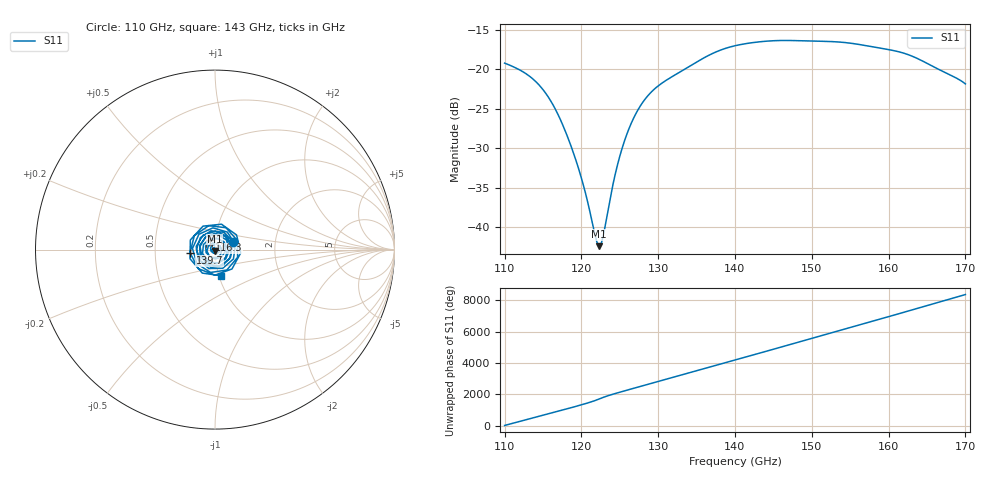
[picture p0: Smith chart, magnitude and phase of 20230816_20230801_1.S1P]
! C:\Users\Solidworker\Documents\VNA\mmiller\20230801\20230816_20230801_1.S1P
! Touchstone 1.1 file saved by VNA.EXE V1.65 (www.ke5fx.com/gpib/readme.htm)
! 8/16/2023 2:57:24 PM
!  Source: HP8510C.07.10: Mar 30  1995
!  Min freq: 1.100000E+011 Hz
!  Max freq: 1.700000E+011 Hz
!  Points: 201
!  Params: S11
# GHZ S MA R 50
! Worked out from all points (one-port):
!   201 points, 110 GHz to 170 GHz, reference 50 ohm
!   lowest |S11| = -42.4 dB at 122.3 GHz (marker M1), VSWR 1.02, Z = 50 - j0.755 ohm
!   |S11| at or under -10 dB: start of sweep to end of sweep
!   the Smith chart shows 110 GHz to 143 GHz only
!   S11 on the Smith chart (normalised r, x): 110 GHz: 1.22, +0.11; 116.3 GHz: 0.94, +0.10; 139.7 GHz: 0.76, -0.03; 143 GHz: 1.02, -0.30
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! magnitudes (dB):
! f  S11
! 110 GHz  -19.2
! 112.1 GHz  -20.1
! 113.6 GHz  -21.1
! 115.1 GHz  -22.7
! 116.3 GHz  -24.5
! 117.5 GHz  -26.9
! 118.7 GHz  -29.9
! 119.9 GHz  -33.5
! 120.8 GHz  -36.8
! 122 GHz  -41.9
! 122.3 GHz  -42.4
! 122.6 GHz  -42.1
! 122.9 GHz  -40.9
! 124.1 GHz  -34.6
! 125 GHz  -31.0
! 125.6 GHz  -29.1
! 126.5 GHz  -26.8
! 128 GHz  -24.2
! 129.8 GHz  -22.2
! 132.5 GHz  -20.5
! 136.7 GHz  -18.1
! 139.7 GHz  -17.1
! 140 GHz  -17.0
! 143 GHz  -16.5
! 147.5 GHz  -16.3
! 155 GHz  -16.7
! 162.5 GHz  -18.1
! 170 GHz  -21.8
